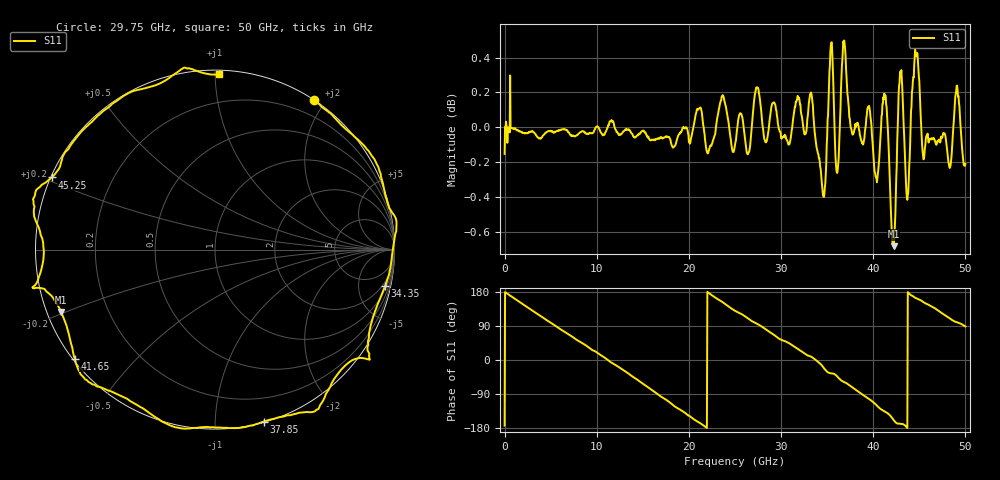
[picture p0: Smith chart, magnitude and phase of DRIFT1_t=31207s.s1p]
!Created with skrf (http://scikit-rf.org).
# Hz S RI R 50.0
!freq ReS11 ImS11
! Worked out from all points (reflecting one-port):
!   1001 points, 300 kHz to 50 GHz, reference 50 ohm
!   lowest |S11| = -0.7 dB at 42.2 GHz (marker M1), VSWR 25.60, Z = 2.03 - j9.71 ohm
!   phase of S11 starts at -173 deg and turns -818 deg over the sweep
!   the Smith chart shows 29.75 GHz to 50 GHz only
!   S11 on the Smith chart (normalised r, x): 29.75 GHz: 0.00, +1.86; 34.35 GHz: 1.39, -9.24; 37.85 GHz: 0.01, -1.32; 41.65 GHz: 0.01, -0.34; 45.25 GHz: 0.00, +0.21; 50 GHz: 0.02, +1.03
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300000  -0.9759 -0.1161
1.450291e9  -0.9125 0.4048
3.25028e9  -0.5921 0.8013
6.250262e9  0.2017 0.9782
9.450243e9  0.8861 0.4549
1.250022e10  0.9319 -0.3492
1.580021e10  0.2384 -0.9625
1.74002e10  -0.2224 -0.9684
1.875019e10  -0.598 -0.7929
2.150017e10  -0.9926 -0.1529
2.350016e10  -0.924 0.4273
2.500015e10  -0.6339 0.7587
2.740014e10  -0.0962 1.022
2.975012e10  0.5502 0.8341
3.125011e10  0.7872 0.6211
3.31001e10  1.004 0.1812
3.435009e10  0.9475 -0.2029
3.520009e10  0.8556 -0.5727
3.750008e10  0.3724 -0.9317
3.785007e10  0.2703 -0.9587
3.960006e10  -0.2374 -0.9842
4.165005e10  -0.7823 -0.6072
4.220005e10  -0.8573 -0.3468
4.290004e10  -1.014 -0.214
4.375004e10  -0.9562 0.0154
4.525003e10  -0.9102 0.4019
4.770001e10  -0.4898 0.8675
5e10  0.0245 0.976
